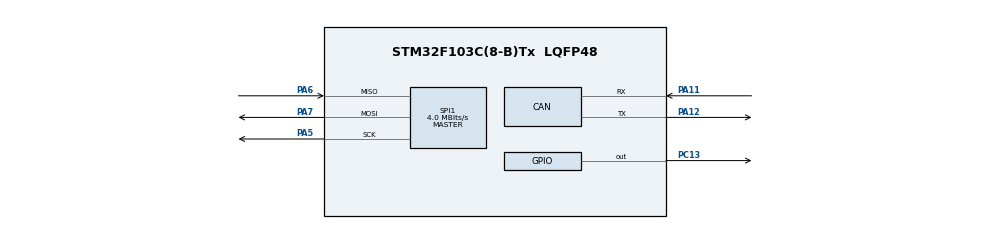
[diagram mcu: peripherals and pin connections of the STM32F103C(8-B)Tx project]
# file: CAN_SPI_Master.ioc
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CAN.CalculateTimeBit=6000
CAN.CalculateTimeQuantum=2000.0
Mcu.Family=STM32F1
Mcu.Name=STM32F103C(8-B)Tx
Mcu.Package=LQFP48
NVIC.PriorityGroup=NVIC_PRIORITYGROUP_4
PA11.Mode=Master
PA11.Signal=CAN_RX
PA12.Mode=Master
PA12.Signal=CAN_TX
PA5.Mode=Full_Duplex_Master
PA5.Signal=SPI1_SCK
PA6.Mode=Full_Duplex_Master
PA6.Signal=SPI1_MISO
PA7.Mode=Full_Duplex_Master
PA7.Signal=SPI1_MOSI
PC13-TAMPER-RTC.Signal=GPIO_Output
PD0-OSC_IN.Mode=HSE-External-Oscillator
PD0-OSC_IN.Signal=RCC_OSC_IN
PD1-OSC_OUT.Mode=HSE-External-Oscillator
PD1-OSC_OUT.Signal=RCC_OSC_OUT
ProjectManager.HeapSize=0x200
ProjectManager.StackSize=0x400
ProjectManager.TargetToolchain=SW4STM32
RCC.APB1Freq_Value=8000000
RCC.APB2Freq_Value=8000000
SPI1.CalculateBaudRate=4.0 MBits/s
SPI1.Direction=SPI_DIRECTION_2LINES
SPI1.Mode=SPI_MODE_MASTER
SPI1.VirtualType=VM_MASTER
VP_SYS_VS_ND.Mode=No_Debug
board=CAN_SPI_Master

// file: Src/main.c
/**
  ******************************************************************************
  * File Name          : main.c
  * Description        : Main program body
  ******************************************************************************
  ** This notice applies to any and all portions of this file
  * that are not between comment pairs USER CODE BEGIN and
  * USER CODE END. Other portions of this file, whether
  * inserted by the user or by software development tools
  * are owned by their respective copyright owners.
  *
  * COPYRIGHT(c) 2017 STMicroelectronics
  *
  * Redistribution and use in source and binary forms, with or without modification,
  * are permitted provided that the following conditions are met:
  *   1. Redistributions of source code must retain the above copyright notice,
  *      this list of conditions and the following disclaimer.
  *   2. Redistributions in binary form must reproduce the above copyright notice,
  *      this list of conditions and the following disclaimer in the documentation
  *      and/or other materials provided with the distribution.
  *   3. Neither the name of STMicroelectronics nor the names of its contributors
  *      may be used to endorse or promote products derived from this software
  *      without specific prior written permission.
  *
  * THIS SOFTWARE IS PROVIDED BY THE COPYRIGHT HOLDERS AND CONTRIBUTORS "AS IS"
  * AND ANY EXPRESS OR IMPLIED WARRANTIES, INCLUDING, BUT NOT LIMITED TO, THE
  * IMPLIED WARRANTIES OF MERCHANTABILITY AND FITNESS FOR A PARTICULAR PURPOSE ARE
  * DISCLAIMED. IN NO EVENT SHALL THE COPYRIGHT HOLDER OR CONTRIBUTORS BE LIABLE
  * FOR ANY DIRECT, INDIRECT, INCIDENTAL, SPECIAL, EXEMPLARY, OR CONSEQUENTIAL
  * DAMAGES (INCLUDING, BUT NOT LIMITED TO, PROCUREMENT OF SUBSTITUTE GOODS OR
  * SERVICES; LOSS OF USE, DATA, OR PROFITS; OR BUSINESS INTERRUPTION) HOWEVER
  * CAUSED AND ON ANY THEORY OF LIABILITY, WHETHER IN CONTRACT, STRICT LIABILITY,
  * OR TORT (INCLUDING NEGLIGENCE OR OTHERWISE) ARISING IN ANY WAY OUT OF THE USE
  * OF THIS SOFTWARE, EVEN IF ADVISED OF THE POSSIBILITY OF SUCH DAMAGE.
  *
  ******************************************************************************
  */
#include "main.h"
#include "stm32f1xx_hal.h"

CAN_HandleTypeDef hcan;

SPI_HandleTypeDef hspi1;

/* USER CODE BEGIN PV */
/* Private variables ---------------------------------------------------------*/
uint8_t can_rx_data[200];
uint8_t can_tx_data[200];
uint8_t can_to_spi_buffer[200];

/* USER CODE END PV */

void SystemClock_Config(void);
static void MX_GPIO_Init(void);
static void MX_CAN_Init(void);
static void MX_SPI1_Init(void);

/* USER CODE BEGIN PFP */
/* Private function prototypes -----------------------------------------------*/

/* USER CODE END PFP */

int main(void)
{

  /* MCU Configuration----------------------------------------------------------*/

  /* Reset of all peripherals, Initializes the Flash interface and the Systick. */
  HAL_Init();

  /* Configure the system clock */
  SystemClock_Config();

  /* Initialize all configured peripherals */
  MX_GPIO_Init();
  MX_CAN_Init();
  MX_SPI1_Init();

  /* Infinite loop */
  while (1)
  {

  /* USER CODE BEGIN 3 */

	  HAL_GPIO_WritePin(GPIOC,GPIO_PIN_13,GPIO_PIN_SET);
	  HAL_Delay(100);

  }
  /* USER CODE END 3 */

}

/** System Clock Configuration
*/
void SystemClock_Config(void)
{

  RCC_OscInitTypeDef RCC_OscInitStruct;
  RCC_ClkInitTypeDef RCC_ClkInitStruct;

    /**Initializes the CPU, AHB and APB busses clocks
    */
  RCC_OscInitStruct.OscillatorType = RCC_OSCILLATORTYPE_HSI;
  RCC_OscInitStruct.HSIState = RCC_HSI_ON;
  RCC_OscInitStruct.HSICalibrationValue = 16;
  RCC_OscInitStruct.PLL.PLLState = RCC_PLL_NONE;
  if (HAL_RCC_OscConfig(&RCC_OscInitStruct) != HAL_OK)
  {
    _Error_Handler(__FILE__, __LINE__);
  }

    /**Initializes the CPU, AHB and APB busses clocks
    */
  RCC_ClkInitStruct.ClockType = RCC_CLOCKTYPE_HCLK|RCC_CLOCKTYPE_SYSCLK
                              |RCC_CLOCKTYPE_PCLK1|RCC_CLOCKTYPE_PCLK2;
  RCC_ClkInitStruct.SYSCLKSource = RCC_SYSCLKSOURCE_HSI;
  RCC_ClkInitStruct.AHBCLKDivider = RCC_SYSCLK_DIV1;
  RCC_ClkInitStruct.APB1CLKDivider = RCC_HCLK_DIV1;
  RCC_ClkInitStruct.APB2CLKDivider = RCC_HCLK_DIV1;

  if (HAL_RCC_ClockConfig(&RCC_ClkInitStruct, FLASH_LATENCY_0) != HAL_OK)
  {
    _Error_Handler(__FILE__, __LINE__);
  }

    /**Configure the Systick interrupt time
    */
  HAL_SYSTICK_Config(HAL_RCC_GetHCLKFreq()/1000);

    /**Configure the Systick
    */
  HAL_SYSTICK_CLKSourceConfig(SYSTICK_CLKSOURCE_HCLK);

  /* SysTick_IRQn interrupt configuration */
  HAL_NVIC_SetPriority(SysTick_IRQn, 0, 0);
}

/* CAN init function */
static void MX_CAN_Init(void)
{

  hcan.Instance = CAN1;
  hcan.Init.Prescaler = 16;
  hcan.Init.Mode = CAN_MODE_NORMAL;
  hcan.Init.SJW = CAN_SJW_1TQ;
  hcan.Init.BS1 = CAN_BS1_1TQ;
  hcan.Init.BS2 = CAN_BS2_1TQ;
  hcan.Init.TTCM = DISABLE;
  hcan.Init.ABOM = DISABLE;
  hcan.Init.AWUM = DISABLE;
  hcan.Init.NART = DISABLE;
  hcan.Init.RFLM = DISABLE;
  hcan.Init.TXFP = DISABLE;
  if (HAL_CAN_Init(&hcan) != HAL_OK)
  {
    _Error_Handler(__FILE__, __LINE__);
  }

}

/* SPI1 init function */
static void MX_SPI1_Init(void)
{

  hspi1.Instance = SPI1;
  hspi1.Init.Mode = SPI_MODE_MASTER;
  hspi1.Init.Direction = SPI_DIRECTION_2LINES;
  hspi1.Init.DataSize = SPI_DATASIZE_8BIT;
  hspi1.Init.CLKPolarity = SPI_POLARITY_LOW;
  hspi1.Init.CLKPhase = SPI_PHASE_1EDGE;
  hspi1.Init.NSS = SPI_NSS_SOFT;
  hspi1.Init.BaudRatePrescaler = SPI_BAUDRATEPRESCALER_2;
  hspi1.Init.FirstBit = SPI_FIRSTBIT_MSB;
  hspi1.Init.TIMode = SPI_TIMODE_DISABLE;
  hspi1.Init.CRCCalculation = SPI_CRCCALCULATION_DISABLE;
  hspi1.Init.CRCPolynomial = 10;
  if (HAL_SPI_Init(&hspi1) != HAL_OK)
  {
    _Error_Handler(__FILE__, __LINE__);
  }

}

/** Configure pins as
        * Analog
        * Input
        * Output
        * EVENT_OUT
        * EXTI
*/
static void MX_GPIO_Init(void)
{

  GPIO_InitTypeDef GPIO_InitStruct;

  /* GPIO Ports Clock Enable */
  __HAL_RCC_GPIOC_CLK_ENABLE();
  __HAL_RCC_GPIOD_CLK_ENABLE();
  __HAL_RCC_GPIOA_CLK_ENABLE();

  /*Configure GPIO pin Output Level */
  HAL_GPIO_WritePin(GPIOC, GPIO_PIN_13, GPIO_PIN_RESET);

  /*Configure GPIO pin : PC13 */
  GPIO_InitStruct.Pin = GPIO_PIN_13;
  GPIO_InitStruct.Mode = GPIO_MODE_OUTPUT_PP;
  GPIO_InitStruct.Speed = GPIO_SPEED_FREQ_LOW;
  HAL_GPIO_Init(GPIOC, &GPIO_InitStruct);

}

/* USER CODE BEGIN 4 */
void HAL_CAN_RxCpltCallback(CAN_HandleTypeDef *hcan)
{
	uint32_t num_bytes = 0;
	uint8_t buf[200];

	if (hcan->pRxMsg->StdId == 1)
	{
		HAL_GPIO_WritePin(GPIOC,GPIO_PIN_13,GPIO_PIN_RESET);
	}

	buf[0] = (hcan->pRxMsg->StdId)>>8;
	buf[1] = (hcan->pRxMsg->StdId);
	buf[2] = (hcan->pRxMsg->DLC);
	buf[3] = (hcan->pRxMsg->Data[0]);
	buf[4] = (hcan->pRxMsg->Data[1]);
	buf[5] = (hcan->pRxMsg->Data[2]);
	buf[6] = (hcan->pRxMsg->Data[3]);
	buf[7] = (hcan->pRxMsg->Data[4]);
	buf[8] = (hcan->pRxMsg->Data[5]);
	buf[9] = (hcan->pRxMsg->Data[6]);
	buf[10] = (hcan->pRxMsg->Data[7]);

	HAL_SPI_Transmit(&hspi1,(uint8_t*)buf,11,1000);

}

/* USER CODE END 4 */

void _Error_Handler(char * file, int line)
{
  while(1)
  {
  }
}

/************************ (C) COPYRIGHT STMicroelectronics *****END OF FILE****/
